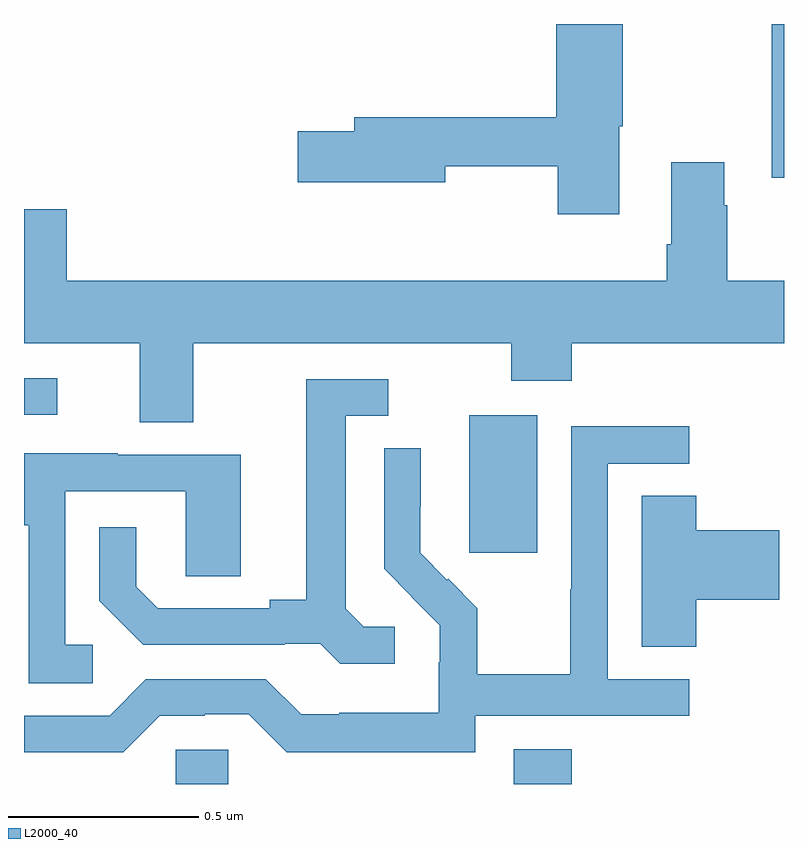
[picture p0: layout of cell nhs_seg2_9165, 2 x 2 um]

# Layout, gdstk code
import gdstk
lib = gdstk.Library(unit=1e-6, precision=1e-09)
def R(c, l, rs):  # rectangles x0, y0, x1, y1
    for r in rs: c.add(gdstk.rectangle(r[:2], r[2:], *l))
def P(c, l, *ps):  # polygons
    for p in ps: c.add(gdstk.Polygon(p, *l))
L2000_40 = (2000, 40)

nhs_seg2_9165 = lib.new_cell('nhs_seg2_9165')
R(nhs_seg2_9165, L2000_40, [(225.399,655.8,225.537,655.89), (226.289,655.8,226.442,655.891), (226.172,656.409,226.351,656.77), (225,656.772,225.088,656.868), (226.968,657.395,227,657.8)])
P(nhs_seg2_9165, L2000_40, [(226.567,657.531),(226.575,657.531),(226.575,657.8),(226.4,657.8),(226.4,657.554),(225.869,657.554),(225.869,657.518),(225.72,657.518),(225.72,657.383),(226.108,657.383),(226.108,657.426),(226.405,657.426),(226.405,657.3),(226.567,657.3)],
  [(225.445,656.96),(226.282,656.96),(226.282,656.861),(226.442,656.861),(226.442,656.96),(227,656.96),(227,657.124),(226.851,657.124),(226.851,657.323),(226.843,657.323),(226.843,657.436),(226.703,657.436),(226.703,657.22),(226.691,657.22),(226.691,657.124),(225.112,657.124),(225.112,657.313),(225,657.313),(225,656.96),(225.305,656.96),(225.305,656.752),(225.445,656.752)],
  [(225.976,656.214),(225.894,656.214),(225.847,656.261),(225.847,656.769),(225.958,656.769),(225.958,656.865),(225.743,656.865),(225.743,656.285),(225.647,656.285),(225.647,656.262),(225.352,656.262),(225.295,656.319),(225.295,656.476),(225.198,656.476),(225.198,656.282),(225.314,656.166),(225.686,656.166),(225.686,656.169),(225.78,656.169),(225.832,656.117),(225.976,656.117)],
  [(226.188,655.98),(226.75,655.98),(226.75,656.076),(226.536,656.076),(226.536,656.643),(226.75,656.643),(226.75,656.742),(226.44,656.742),(226.44,656.312),(226.438,656.312),(226.438,656.089),(226.193,656.089),(226.193,656.263),(226.116,656.34),(226.113,656.337),(226.043,656.408),(226.043,656.53),(226.044,656.53),(226.044,656.684),(225.948,656.684),(225.948,656.366),(226.021,656.293),(226.02,656.292),(226.094,656.218),(226.094,656.121),(226.092,656.121),(226.092,655.987),(225.829,655.987),(225.829,655.983),(225.729,655.983),(225.636,656.076),(225.321,656.076),(225.225,655.98),(225,655.98),(225,655.884),(225.261,655.884),(225.357,655.98),(225.476,655.98),(225.476,655.983),(225.591,655.983),(225.691,655.883),(226.188,655.883)],
  [(225.181,656.166),(225.108,656.166),(225.108,656.571),(225.426,656.571),(225.426,656.347),(225.571,656.347),(225.571,656.667),(225.247,656.667),(225.247,656.671),(225,656.671),(225,656.481),(225.012,656.481),(225.012,656.065),(225.181,656.065)],
  [(226.769,656.285),(226.987,656.285),(226.987,656.468),(226.769,656.468),(226.769,656.558),(226.625,656.558),(226.625,656.161),(226.769,656.161)])

lib.write_gds('nhs_seg2_9165.gds')
